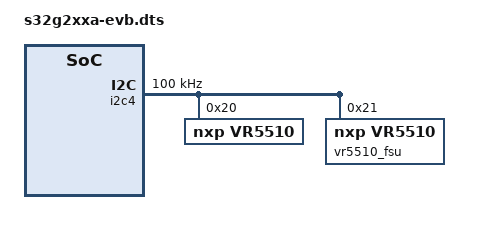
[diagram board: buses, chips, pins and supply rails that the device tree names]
/*
 * Copyright 2022 NXP
 *
 * SPDX-License-Identifier: BSD-3-Clause
 */
/dts-v1/;
#include "s32g274a.dtsi"

&i2c4 {
	status = "okay";
	clock-frequency=<100000>;

	vr5510@20 {
		compatible = "nxp,vr5510";
		reg = <0x20>;
		status = "okay";
	};

	vr5510_fsu@21 {
		compatible = "nxp,vr5510";
		reg = <0x21>;
		status = "okay";
	};
};
